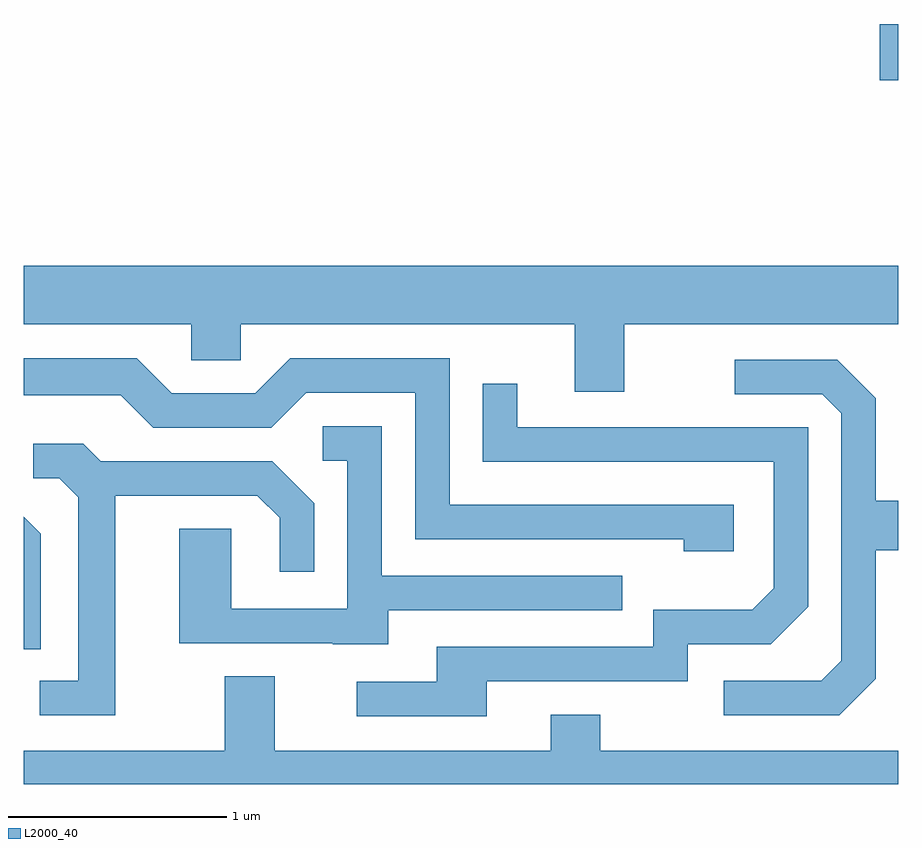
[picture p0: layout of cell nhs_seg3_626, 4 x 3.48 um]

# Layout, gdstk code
import gdstk
lib = gdstk.Library(unit=1e-6, precision=1e-09)
def R(c, l, rs):  # rectangles x0, y0, x1, y1
    for r in rs: c.add(gdstk.rectangle(r[:2], r[2:], *l))
def P(c, l, *ps):  # polygons
    for p in ps: c.add(gdstk.Polygon(p, *l))
L2000_40 = (2000, 40)

nhs_seg3_626 = lib.new_cell('nhs_seg3_626')
R(nhs_seg3_626, L2000_40, [(207.526,1147.111,207.611,1147.369)])
P(nhs_seg3_626, L2000_40, [(206.359,1145.996),(207.611,1145.996),(207.611,1146.264),(203.611,1146.264),(203.611,1145.996),(204.376,1145.996),(204.376,1145.831),(204.604,1145.831),(204.604,1145.996),(206.131,1145.996),(206.131,1145.686),(206.359,1145.686)],
  [(206.859,1145.169),(205.559,1145.169),(205.559,1145.839),(204.829,1145.839),(204.669,1145.679),(204.287,1145.679),(204.127,1145.839),(203.611,1145.839),(203.611,1145.671),(204.054,1145.671),(204.204,1145.521),(204.742,1145.521),(204.902,1145.681),(205.401,1145.681),(205.401,1145.011),(206.631,1145.011),(206.631,1144.956),(206.859,1144.956)],
  [(207.509,1144.374),(207.509,1144.961),(207.611,1144.961),(207.611,1145.189),(207.509,1145.189),(207.509,1145.657),(207.332,1145.834),(206.863,1145.834),(206.863,1145.676),(207.264,1145.676),(207.351,1145.589),(207.351,1144.457),(207.259,1144.364),(206.813,1144.364),(206.813,1144.206),(207.342,1144.206)],
  [(205.729,1144.361),(206.649,1144.361),(206.649,1144.531),(207.027,1144.531),(207.199,1144.704),(207.199,1145.524),(205.869,1145.524),(205.869,1145.723),(205.711,1145.723),(205.711,1145.366),(207.041,1145.366),(207.041,1144.787),(206.944,1144.689),(206.491,1144.689),(206.491,1144.519),(205.501,1144.519),(205.501,1144.359),(205.133,1144.359),(205.133,1144.201),(205.729,1144.201)],
  [(205.279,1144.686),(206.348,1144.686),(206.348,1144.844),(205.249,1144.844),(205.249,1145.529),(204.978,1145.529),(204.978,1145.371),(205.091,1145.371),(205.091,1144.694),(204.559,1144.694),(204.559,1145.059),(204.321,1145.059),(204.321,1144.536),(205.025,1144.536),(205.025,1144.531),(205.279,1144.531)],
  [(204.029,1145.211),(204.679,1145.211),(204.781,1145.109),(204.781,1144.863),(204.939,1144.863),(204.939,1145.177),(204.747,1145.369),(203.962,1145.369),(203.882,1145.449),(203.653,1145.449),(203.653,1145.291),(203.774,1145.291),(203.861,1145.204),(203.861,1144.364),(203.683,1144.364),(203.683,1144.206),(204.029,1144.206)],
  [(203.689,1145.037),(203.611,1145.115),(203.611,1144.508),(203.689,1144.508)],
  [(207.611,1144.044),(206.249,1144.044),(206.249,1144.209),(206.021,1144.209),(206.021,1144.044),(204.759,1144.044),(204.759,1144.384),(204.531,1144.384),(204.531,1144.044),(203.611,1144.044),(203.611,1143.892),(207.611,1143.892)])

lib.write_gds('nhs_seg3_626.gds')
